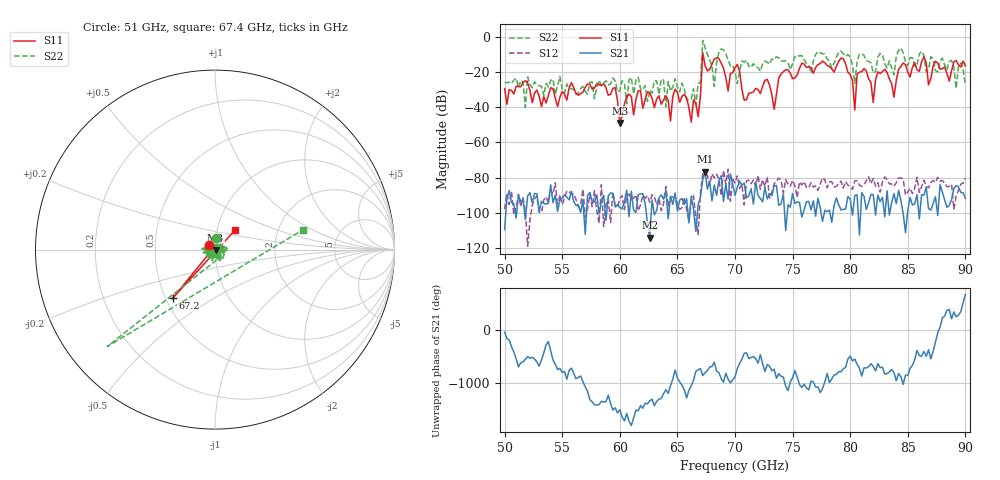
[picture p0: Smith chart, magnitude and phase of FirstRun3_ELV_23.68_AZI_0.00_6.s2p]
! 11/24/2026 3:30:06 PM
! C:\ANRITSUVNA\TEMP\TEMP.S2P
! CHANNEL.1
! TR.MEASUREMENT
! RAW.DATA
# HZ S RI R 50.0
! FREQ.HZ  S11RE  S11IM  S21RE  S21IM  S12RE  S12IM  S22RE  S22IM
!; PortSelection: Port_12
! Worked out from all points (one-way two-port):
!   201 points, 50 GHz to 90 GHz, reference 50 ohm
!   highest |S21| = -76.75 dB at 67.4 GHz (marker M1); lowest = -114.4 dB at 62.6 GHz (marker M2)
!   lowest |S11| = -48.9 dB at 60 GHz (marker M3), VSWR 1.01, Z = 50.3 - j0.157 ohm
!   |S11| at or under -10 dB: start of sweep to 67.19 GHz; 67.23 GHz to end of sweep
!   |S22| runs from -40.0 to -1.9 dB; largest |S21 - S12| = 0.00021
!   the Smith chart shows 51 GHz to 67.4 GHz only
!   S11 on the Smith chart (normalised r, x): 51 GHz: 0.94, +0.05; 67.2 GHz: 0.54, -0.34; 67.4 GHz: 1.22, +0.27
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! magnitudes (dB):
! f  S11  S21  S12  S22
! 50 GHz  -29.3  -109.7  -98.1  -25.6
! 51 GHz  -28.0  -103.1  -97.4  -23.4
! 51.8 GHz  -24.8  -103.9  -99.2  -40.0
! 56.8 GHz  -31.4  -92.7  -86.7  -28.1
! 59.6 GHz  -28.8  -96.8  -95.7  -25.0
! 60 GHz  -48.9  -97.0  -92.0  -30.5
! 62.6 GHz  -31.8  -114.4  -94.1  -30.1
! 63.4 GHz  -33.4  -91.5  -91.7  -32.6
! 66.8 GHz  -45.3  -95.7  -112.6  -26.5
! 67.2 GHz  -8.9  -81.1  -77.9  -1.9
! 67.4 GHz  -16.1  -76.8  -78.9  -5.9
! 68.2 GHz  -12.5  -84.3  -80.2  -28.0
! 68.8 GHz  -14.8  -78.9  -90.1  -6.7
! 70 GHz  -17.4  -90.1  -83.1  -19.9
! 73.4 GHz  -41.1  -84.8  -83.6  -12.6
! 74.2 GHz  -19.7  -89.4  -88.8  -13.5
! 76.8 GHz  -20.6  -93.2  -85.5  -13.6
! 79.4 GHz  -12.2  -98.1  -86.0  -9.4
! 80.4 GHz  -41.5  -90.2  -81.8  -26.3
! 80.6 GHz  -21.0  -89.9  -81.9  -14.0
! 83.4 GHz  -23.7  -101.4  -83.6  -13.5
! 90 GHz  -16.4  -91.9  -80.3  -27.3
